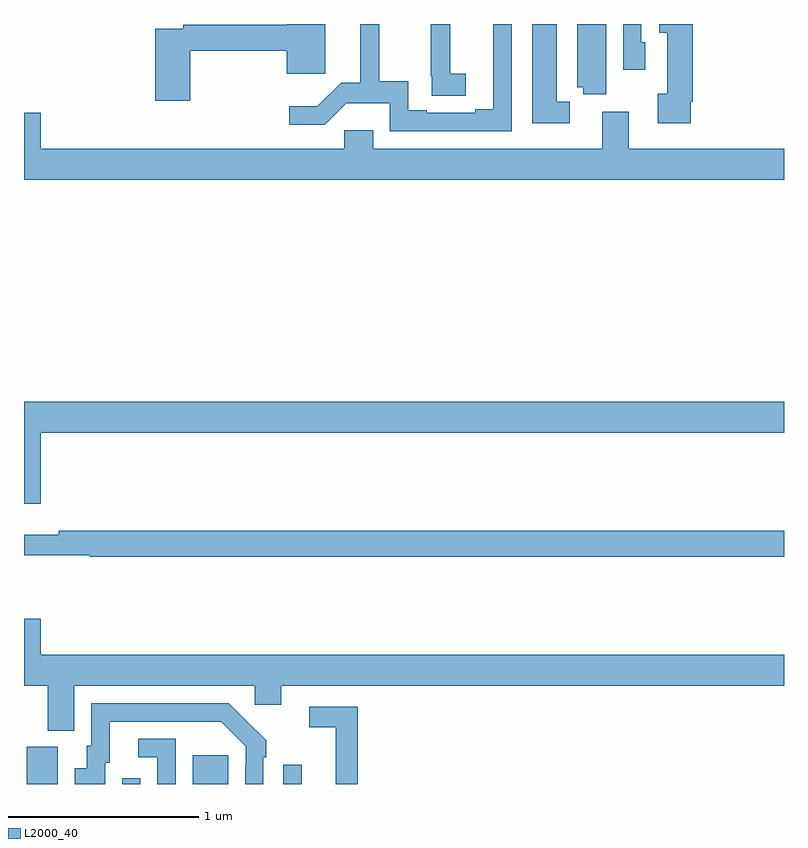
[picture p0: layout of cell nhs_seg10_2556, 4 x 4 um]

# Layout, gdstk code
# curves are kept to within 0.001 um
import gdstk
lib = gdstk.Library(unit=1e-6, precision=1e-09)
def R(c, l, rs):  # rectangles x0, y0, x1, y1
    for r in rs: c.add(gdstk.rectangle(r[:2], r[2:], *l))
def P(c, l, *ps):  # polygons
    for p in ps: c.add(gdstk.Polygon(p, *l))
L2000_40 = (2000, 40)

nhs_seg10_2556 = lib.new_cell('nhs_seg10_2556')
R(nhs_seg10_2556, L2000_40, [(249.014,1266.5,249.178,1266.696), (249.516,1266.5,249.612,1266.529), (249.887,1266.5,250.075,1266.652), (250.365,1266.5,250.461,1266.601)])
P(nhs_seg10_2556, L2000_40, [(249.875,1270.36),(250.382,1270.36),(250.382,1270.239),(250.585,1270.239),(250.585,1270.5),(250.382,1270.5),(250.382,1270.496),(249.838,1270.496),(249.838,1270.476),(249.692,1270.476),(249.692,1270.095),(249.875,1270.095)],
  [(252.508,1270.09),(252.521,1270.09),(252.521,1270.5),(252.344,1270.5),(252.344,1270.454),(252.386,1270.454),(252.386,1270.134),(252.336,1270.134),(252.336,1269.978),(252.508,1269.978)],
  [(251.568,1270.5),(251.47,1270.5),(251.471,1270.052),(251.375,1270.052),(251.375,1270.032),(251.119,1270.032),(251.119,1270.046),(251.022,1270.046),(251.022,1270.199),(250.871,1270.199),(250.871,1270.5),(250.769,1270.5),(250.769,1270.192),(250.669,1270.192),(250.543,1270.066),(250.395,1270.066),(250.395,1269.969),(250.584,1269.969),(250.697,1270.082),(250.926,1270.082),(250.926,1269.936),(251.568,1269.936)],
  [(251.326,1270.238),(251.244,1270.238),(251.244,1270.5),(251.14,1270.5),(251.14,1270.225),(251.146,1270.225),(251.146,1270.123),(251.326,1270.123)],
  [(252.27,1270.404),(252.249,1270.404),(252.249,1270.5),(252.153,1270.5),(252.153,1270.26),(252.27,1270.26)],
  [(252.064,1270.5),(251.912,1270.5),(251.912,1270.166),(251.944,1270.166),(251.944,1270.129),(252.064,1270.129)],
  [(251.872,1270.092),(251.803,1270.092),(251.803,1270.5),(251.675,1270.5),(251.675,1269.977),(251.872,1269.977)],
  [(253,1269.844),(252.184,1269.844),(252.184,1270.039),(252.044,1270.039),(252.044,1269.844),(250.837,1269.844),(250.837,1269.942),(250.686,1269.942),(250.686,1269.844),(249.088,1269.844),(249.088,1270.033),(249,1270.033),(249,1269.68),(253,1269.68)],
  [(249.088,1268.348),(253,1268.348),(253,1268.512),(249,1268.512),(249,1267.974),(249.088,1267.974)],
  [(253,1267.832),(249.184,1267.832),(249.184,1267.813),(249,1267.813),(249,1267.704),(249.345,1267.704),(249.345,1267.696),(253,1267.696)],
  [(249.265,1267.016),(250.215,1267.016),(250.215,1266.918),(250.354,1266.918),(250.354,1267.016),(253,1267.016),(253,1267.18),(249.088,1267.18),(249.088,1267.369),(249,1267.369),(249,1267.016),(249.125,1267.016),(249.125,1266.781),(249.265,1266.781)],
  [(249.427,1266.612),(249.451,1266.612),(249.451,1266.828),(250.039,1266.828),(250.167,1266.699),(250.167,1266.599),(250.164,1266.599),(250.164,1266.5),(250.26,1266.5),(250.26,1266.641),(250.275,1266.641),(250.275,1266.729),(250.078,1266.924),(249.354,1266.924),(249.354,1266.702),(249.329,1266.702),(249.329,1266.583),(249.266,1266.583),(249.266,1266.5),(249.427,1266.5)],
  [(250.757,1266.906),(250.5,1266.906),(250.5,1266.798),(250.64,1266.798),(250.64,1266.5),(250.757,1266.5)],
  [(249.798,1266.738),(249.6,1266.738),(249.6,1266.642),(249.702,1266.642),(249.702,1266.5),(249.798,1266.5)])

lib.write_gds('nhs_seg10_2556.gds')
